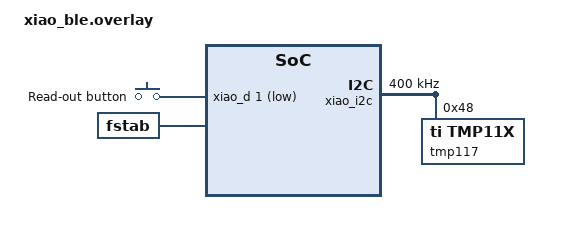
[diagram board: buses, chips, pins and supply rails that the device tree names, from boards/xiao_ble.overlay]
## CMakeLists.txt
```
cmake_minimum_required(VERSION 3.20.0)
find_package(Zephyr REQUIRED HINTS $ENV{ZEPHYR_BASE})
project(brace_sensor)

target_sources(app PRIVATE src/main.c src/wearlog.c)
```

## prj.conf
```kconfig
CONFIG_GPIO=y
CONFIG_I2C=y
CONFIG_LOG=y

CONFIG_BT=y
CONFIG_BT_PERIPHERAL=y
CONFIG_BT_DEVICE_NAME="BFA brace"
CONFIG_BT_MAX_CONN=1

CONFIG_FLASH=y
CONFIG_FLASH_MAP=y
CONFIG_FILE_SYSTEM=y
CONFIG_FILE_SYSTEM_LITTLEFS=y

CONFIG_MAIN_STACK_SIZE=2048
CONFIG_SYSTEM_WORKQUEUE_STACK_SIZE=2048
```

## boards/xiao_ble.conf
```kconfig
# Produces build/zephyr/zephyr.uf2 for the XIAO's drag-and-drop bootloader.
CONFIG_BUILD_OUTPUT_UF2=y
```

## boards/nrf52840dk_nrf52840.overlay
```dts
/* Nordic nRF52840 DK, for bench work: TMP117 on i2c0 (P0.26 SDA, P0.27 SCL),
 * Button 1 as the read-out button, LED1 as the heartbeat. */

/ {
	fstab {
		compatible = "zephyr,fstab";
		lfs: lfs {
			compatible = "zephyr,fstab,littlefs";
			mount-point = "/lfs";
			partition = <&storage_partition>;
			automount;
			read-size = <16>;
			prog-size = <16>;
			cache-size = <64>;
			lookahead-size = <32>;
			block-cycles = <512>;
		};
	};
};

&i2c0 {
	status = "okay";

	tmp117: tmp117@48 {
		compatible = "ti,tmp11x";
		reg = <0x48>;
	};
};
```

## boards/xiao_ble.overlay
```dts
/* Seeed XIAO nRF52840: TMP117 on the XIAO I2C pins (D4 SDA, D5 SCL),
 * button on D1 to ground, wear log on the storage partition. */

/ {
	aliases {
		sw0 = &brace_button;
	};

	buttons {
		compatible = "gpio-keys";
		brace_button: button_0 {
			gpios = <&xiao_d 1 (GPIO_PULL_UP | GPIO_ACTIVE_LOW)>;
			label = "Read-out button";
		};
	};

	fstab {
		compatible = "zephyr,fstab";
		lfs: lfs {
			compatible = "zephyr,fstab,littlefs";
			mount-point = "/lfs";
			partition = <&storage_partition>;
			automount;
			read-size = <16>;
			prog-size = <16>;
			cache-size = <64>;
			lookahead-size = <32>;
			block-cycles = <512>;
		};
	};
};

&xiao_i2c {
	status = "okay";
	clock-frequency = <I2C_BITRATE_FAST>;

	tmp117: tmp117@48 {
		compatible = "ti,tmp11x";
		reg = <0x48>;
	};
};
```

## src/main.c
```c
/*
 * Clubfoot brace adherence sensor, Zephyr RTOS on a Seeed XIAO nRF52840.
 *
 * Every 10 minutes: one-shot TMP117 reading, appended as one byte to a file
 * on the internal flash (LittleFS). Press the button to advertise over
 * Bluetooth for 2 minutes. Commands written to the control characteristic:
 * "S" daily summary, "D" raw dump, "C" clear the log.
 */

#include <string.h>

#include <zephyr/bluetooth/bluetooth.h>
#include <zephyr/bluetooth/gatt.h>
#include <zephyr/bluetooth/uuid.h>
#include <zephyr/drivers/gpio.h>
#include <zephyr/drivers/i2c.h>
#include <zephyr/fs/fs.h>
#include <zephyr/kernel.h>
#include <zephyr/logging/log.h>
#include <zephyr/sys/byteorder.h>

#include "wearlog.h"

LOG_MODULE_REGISTER(brace, LOG_LEVEL_INF);

#define SAMPLE_PERIOD K_MINUTES(10)
#define ADVERTISE_FOR K_SECONDS(120)
#define LOG_PATH      "/lfs/wear.bin"

static const struct i2c_dt_spec tmp117 = I2C_DT_SPEC_GET(DT_NODELABEL(tmp117));
static const struct gpio_dt_spec button = GPIO_DT_SPEC_GET(DT_ALIAS(sw0), gpios);
static const struct gpio_dt_spec led = GPIO_DT_SPEC_GET(DT_ALIAS(led0), gpios);
static struct gpio_callback button_cb;

/* ------------------------------------------------------------ temperature */

static int tmp117_one_shot(float *celsius)
{
	/* CONFIG: one-shot conversion (MOD=11), 8 averages (AVG=01) */
	uint8_t cfg[3] = {0x01, 0x0C, 0x20};
	uint8_t reg = 0x00, raw[2];
	int err = i2c_write_dt(&tmp117, cfg, sizeof(cfg));

	if (err) {
		return err;
	}
	k_msleep(130);
	err = i2c_write_read_dt(&tmp117, &reg, 1, raw, sizeof(raw));
	if (err) {
		return err;
	}
	*celsius = (int16_t)sys_get_be16(raw) * 0.0078125f;
	return 0;
}

/* ------------------------------------------------------------ log file */

static int log_append(uint8_t b)
{
	struct fs_file_t f;
	int err;

	fs_file_t_init(&f);
	err = fs_open(&f, LOG_PATH, FS_O_CREATE | FS_O_APPEND | FS_O_WRITE);
	if (err) {
		return err;
	}
	err = fs_write(&f, &b, 1);
	fs_close(&f);
	return err < 0 ? err : 0;
}

/* Reads the whole log into buf. At 144 bytes a day, 8 KB holds eight weeks. */
static uint8_t log_buf[8192];

static ssize_t log_read_all(void)
{
	struct fs_file_t f;
	ssize_t n;

	fs_file_t_init(&f);
	if (fs_open(&f, LOG_PATH, FS_O_READ)) {
		return 0;
	}
	n = fs_read(&f, log_buf, sizeof(log_buf));
	fs_close(&f);
	return n < 0 ? 0 : n;
}

/* ------------------------------------------------------------ Bluetooth */

#define BRACE_UUID(n) BT_UUID_128_ENCODE(0x6e4b0900 + (n), 0xbfa0, 0x4b1d, 0x9a10, 0x000000000009ULL)

static const struct bt_uuid_128 svc_uuid = BT_UUID_INIT_128(BRACE_UUID(0));
static const struct bt_uuid_128 ctrl_uuid = BT_UUID_INIT_128(BRACE_UUID(1));
static const struct bt_uuid_128 data_uuid = BT_UUID_INIT_128(BRACE_UUID(2));

static char pending_cmd;
static void command_handler(struct k_work *work);
static K_WORK_DEFINE(command_work, command_handler);

static ssize_t ctrl_write(struct bt_conn *conn, const struct bt_gatt_attr *attr, const void *buf,
			  uint16_t len, uint16_t offset, uint8_t flags)
{
	if (len) {
		pending_cmd = ((const char *)buf)[0];
		k_work_submit(&command_work);   /* file reads stay off the Bluetooth thread */
	}
	return len;
}

static void data_ccc_changed(const struct bt_gatt_attr *attr, uint16_t value)
{
}

BT_GATT_SERVICE_DEFINE(brace_svc,
	BT_GATT_PRIMARY_SERVICE(&svc_uuid),
	BT_GATT_CHARACTERISTIC(&ctrl_uuid.uuid, BT_GATT_CHRC_WRITE, BT_GATT_PERM_WRITE, NULL,
			       ctrl_write, NULL),
	BT_GATT_CHARACTERISTIC(&data_uuid.uuid, BT_GATT_CHRC_NOTIFY, BT_GATT_PERM_NONE, NULL,
			       NULL, NULL),
	BT_GATT_CCC(data_ccc_changed, BT_GATT_PERM_READ | BT_GATT_PERM_WRITE),
);

/* Chunks of 20 bytes reach every phone, whatever MTU it negotiates. */
static void send_text(const char *s, size_t len)
{
	for (size_t i = 0; i < len; i += 20) {
		bt_gatt_notify(NULL, &brace_svc.attrs[4], s + i, MIN(20, len - i));
		k_msleep(10);
	}
}

static void emit_line(const struct wear_summary *s, void *ctx)
{
	char line[32];

	send_text(line, wear_format(s, line, sizeof(line)));
}

static void command_handler(struct k_work *work)
{
	static const char header[] = "day,hours_worn\n";
	ssize_t n;

	switch (pending_cmd) {
	case 'S':
		send_text(header, sizeof(header) - 1);
		n = log_read_all();
		if (n == 0) {
			send_text("no data\n", 8);
		}
		wear_summarise(log_buf, n, emit_line, NULL);
		break;
	case 'D': {
		char line[64];
		size_t len = 0;

		n = log_read_all();
		for (ssize_t i = 0; i < n; i++) {
			int q = log_buf[i];   /* x.yz without floating-point printf */
			len += snprintk(line + len, sizeof(line) - len, "%d.%02d%c", 10 + q / 4,
					(q % 4) * 25, (i % 6 == 5) ? '\n' : ',');
			if (len > 48) {
				send_text(line, len);
				len = 0;
			}
		}
		send_text(line, len);
		send_text("\n", 1);
		break;
	}
	case 'C':
		fs_unlink(LOG_PATH);
		send_text("cleared\n", 8);
		break;
	}
}

static const struct bt_data ad[] = {
	BT_DATA_BYTES(BT_DATA_FLAGS, (BT_LE_AD_GENERAL | BT_LE_AD_NO_BREDR)),
	BT_DATA_BYTES(BT_DATA_UUID128_ALL, BRACE_UUID(0)),
};
static const struct bt_data sd[] = {
	BT_DATA(BT_DATA_NAME_COMPLETE, CONFIG_BT_DEVICE_NAME, sizeof(CONFIG_BT_DEVICE_NAME) - 1),
};

static void stop_advertising(struct k_work *work)
{
	bt_le_adv_stop();
}
static K_WORK_DELAYABLE_DEFINE(adv_timeout, stop_advertising);

static void start_advertising(struct k_work *work)
{
	int err = bt_le_adv_start(BT_LE_ADV_CONN_FAST_1, ad, ARRAY_SIZE(ad), sd, ARRAY_SIZE(sd));

	if (err && err != -EALREADY) {
		LOG_WRN("advertising failed (%d)", err);
		return;
	}
	k_work_reschedule(&adv_timeout, ADVERTISE_FOR);
}
static K_WORK_DEFINE(adv_work, start_advertising);

static void button_pressed(const struct device *dev, struct gpio_callback *cb, uint32_t pins)
{
	k_work_submit(&adv_work);
}

/* ------------------------------------------------------------ main */

int main(void)
{
	int err;

	if (!i2c_is_ready_dt(&tmp117) || !gpio_is_ready_dt(&button) || !gpio_is_ready_dt(&led)) {
		LOG_ERR("hardware not ready");
		return 0;
	}
	gpio_pin_configure_dt(&led, GPIO_OUTPUT_INACTIVE);
	gpio_pin_configure_dt(&button, GPIO_INPUT);
	gpio_pin_interrupt_configure_dt(&button, GPIO_INT_EDGE_TO_ACTIVE);
	gpio_init_callback(&button_cb, button_pressed, BIT(button.pin));
	gpio_add_callback(button.port, &button_cb);

	err = bt_enable(NULL);
	if (err) {
		LOG_ERR("Bluetooth init failed (%d)", err);
	}

	for (;;) {
		float t;

		if (tmp117_one_shot(&t) == 0) {
			err = log_append(wear_encode(t));
			if (err) {
				LOG_WRN("log write failed (%d)", err);
			}
		}
		gpio_pin_set_dt(&led, 1);   /* 20 ms blink: still alive */
		k_msleep(20);
		gpio_pin_set_dt(&led, 0);
		k_sleep(SAMPLE_PERIOD);
	}
	return 0;
}
```

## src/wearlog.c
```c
#include "wearlog.h"

#include <stdbool.h>
#include <stdio.h>

uint8_t wear_encode(float celsius)
{
	float v = (celsius - 10.0f) * 4.0f;

	if (v < 0.0f) {
		v = 0.0f;
	}
	if (v > 254.0f) {
		v = 254.0f;
	}
	return (uint8_t)(v + 0.5f);
}

float wear_decode(uint8_t b)
{
	return 10.0f + b / 4.0f;
}

void wear_summarise(const uint8_t *log, size_t n,
		    void (*emit)(const struct wear_summary *s, void *ctx), void *ctx)
{
	struct wear_summary s = {.day = 1};
	bool worn = false;

	for (size_t i = 0; i < n; i++) {
		float t = wear_decode(log[i]);

		if (!worn && t > WEAR_ON_C) {
			worn = true;
		} else if (worn && t < WEAR_OFF_C) {
			worn = false;
		}
		s.worn_samples += worn;
		if (++s.samples == WEAR_SAMPLES_PER_DAY) {
			emit(&s, ctx);
			s.day++;
			s.samples = 0;
			s.worn_samples = 0;
		}
	}
	if (s.samples) {
		emit(&s, ctx);
	}
}

int wear_format(const struct wear_summary *s, char *out, size_t cap)
{
	/* tenths of an hour, without pulling floating-point printf into the build */
	int tenths = (s->worn_samples * 10 + 3) / 6;

	return snprintf(out, cap, "%d,%d.%d%s\n", s->day, tenths / 10, tenths % 10,
			s->samples < WEAR_SAMPLES_PER_DAY ? " (partial)" : "");
}
```

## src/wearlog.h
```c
/*
 * Wear log for the clubfoot brace sensor.
 *
 * One byte per 10-minute sample: (T - 10 C) * 4, so 0.25 C steps from 10 C
 * to 73.5 C. Whether the brace was worn is decided at read-out, with
 * hysteresis: worn above 30.5 C, taken off below 28.0 C.
 *
 * No Zephyr headers here, so tests/ can build it on a computer.
 */

#pragma once
#include <stddef.h>
#include <stdint.h>

#define WEAR_SAMPLES_PER_DAY 144
#define WEAR_ON_C            30.5f
#define WEAR_OFF_C           28.0f

uint8_t wear_encode(float celsius);
float wear_decode(uint8_t b);

struct wear_summary {
	int day;          /* 1-based, counted from the first sample */
	int worn_samples; /* 10-minute samples counted as worn */
	int samples;      /* samples in this day, 144 unless partial */
};

/*
 * Walks the log and calls `emit` once per 24 h block (the last may be partial).
 * The hysteresis state carries across days, as it does on the child's foot.
 */
void wear_summarise(const uint8_t *log, size_t n,
		    void (*emit)(const struct wear_summary *s, void *ctx), void *ctx);

/* Formats one summary line, "3,21.5\n" or "4,6.0 (partial)\n". Returns length. */
int wear_format(const struct wear_summary *s, char *out, size_t cap);
```
